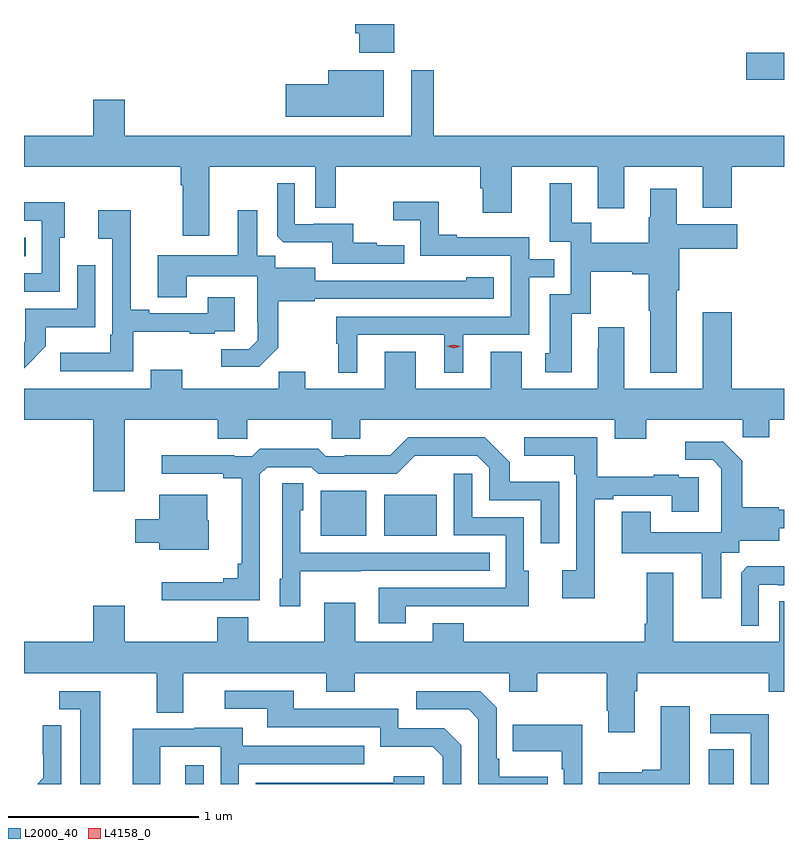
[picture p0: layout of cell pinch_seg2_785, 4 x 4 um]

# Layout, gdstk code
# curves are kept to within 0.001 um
import gdstk
lib = gdstk.Library(unit=1e-6, precision=1e-09)
def R(c, l, rs):  # rectangles x0, y0, x1, y1
    for r in rs: c.add(gdstk.rectangle(r[:2], r[2:], *l))
def P(c, l, *ps):  # polygons
    for p in ps: c.add(gdstk.Polygon(p, *l))
L2000_40 = (2000, 40)
L4158_0 = (4158, 0)

pinch_seg2_785 = lib.new_cell('pinch_seg2_785')
R(pinch_seg2_785, L2000_40, [(633.023,600.432,633.12,600.532), (635.78,600.432,635.911,600.614), (633.737,601.739,633.976,601.975), (634.07,601.739,634.348,601.954), (632.175,603.21,632.183,603.306), (635.976,604.138,636.175,604.28)])
P(pinch_seg2_785, L2000_40, [(634.123,604.432),(633.919,604.432),(633.919,604.384),(633.939,604.384),(633.939,604.28),(634.123,604.28)],
  [(634.069,604.189),(633.776,604.189),(633.776,604.115),(633.552,604.115),(633.552,603.944),(634.069,603.944)],
  [(632.704,604.033),(632.54,604.033),(632.54,603.844),(632.175,603.844),(632.175,603.68),(632.999,603.68),(632.999,603.584),(633.011,603.584),(633.011,603.318),(633.151,603.318),(633.151,603.68),(633.708,603.68),(633.708,603.466),(633.817,603.466),(633.817,603.68),(634.577,603.68),(634.577,603.567),(634.589,603.567),(634.589,603.438),(634.741,603.438),(634.741,603.68),(635.195,603.68),(635.195,603.462),(635.335,603.462),(635.335,603.68),(635.747,603.68),(635.747,603.464),(635.9,603.464),(635.9,603.68),(636.175,603.68),(636.175,603.844),(634.331,603.844),(634.331,604.189),(634.214,604.189),(634.214,603.844),(632.704,603.844)],
  [(635.611,603.032),(635.624,603.032),(635.624,603.25),(635.929,603.25),(635.929,603.379),(635.611,603.379),(635.611,603.565),(635.471,603.565),(635.471,603.414),(635.464,603.414),(635.464,603.28),(635.161,603.28),(635.161,603.386),(635.059,603.386),(635.059,603.595),(634.943,603.595),(634.943,603.285),(635.052,603.285),(635.052,603.009),(634.943,603.009),(634.943,602.7),(634.919,602.7),(634.919,602.598),(635.059,602.598),(635.059,602.906),(635.157,602.906),(635.157,603.128),(635.375,603.128),(635.375,603.116),(635.464,603.116),(635.464,602.923),(635.471,602.923),(635.471,602.597),(635.611,602.597)],
  [(634.175,603.268),(634.031,603.268),(634.031,603.28),(633.908,603.28),(633.908,603.381),(633.7,603.381),(633.7,603.378),(633.6,603.378),(633.6,603.595),(633.507,603.595),(633.507,603.315),(633.539,603.284),(633.798,603.284),(633.798,603.171),(634.175,603.171)],
  [(633.928,602.796),(634.388,602.796),(634.388,602.597),(634.486,602.597),(634.486,602.796),(634.833,602.796),(634.833,603.099),(634.967,603.099),(634.967,603.195),(634.833,603.195),(634.833,603.309),(634.453,603.309),(634.453,603.322),(634.359,603.322),(634.359,603.497),(634.119,603.497),(634.119,603.398),(634.26,603.398),(634.26,603.213),(634.737,603.213),(634.737,602.892),(633.819,602.892),(633.819,602.748),(633.83,602.748),(633.83,602.597),(633.928,602.597)],
  [(632.364,603.306),(632.389,603.306),(632.389,603.494),(632.175,603.494),(632.175,603.396),(632.268,603.396),(632.268,603.12),(632.175,603.12),(632.175,603.024),(632.364,603.024)],
  [(633.513,602.727),(633.513,602.973),(633.705,602.973),(633.705,602.985),(634.648,602.985),(634.648,603.1),(634.503,603.1),(634.503,603.082),(633.709,603.081),(633.709,603.148),(633.498,603.148),(633.498,603.212),(633.403,603.212),(633.403,603.451),(633.299,603.451),(633.299,603.214),(632.879,603.214),(632.879,602.995),(633.031,602.995),(633.031,603.104),(633.402,603.104),(633.402,602.863),(633.404,602.863),(633.404,602.768),(633.357,602.721),(633.213,602.721),(633.213,602.627),(633.413,602.627)],
  [(632.749,602.813),(633.047,602.813),(633.047,602.802),(633.179,602.802),(633.179,602.814),(633.283,602.814),(633.283,602.995),(633.143,602.995),(633.143,602.91),(632.833,602.91),(632.833,602.929),(632.737,602.929),(632.737,603.451),(632.565,603.451),(632.565,603.302),(632.64,603.302),(632.64,602.797),(632.628,602.797),(632.628,602.701),(632.367,602.701),(632.367,602.604),(632.749,602.604)],
  [(632.289,602.735),(632.289,602.837),(632.55,602.837),(632.55,603.163),(632.454,603.163),(632.454,602.934),(632.181,602.934),(632.181,602.763),(632.175,602.757),(632.175,602.621)],
  [(632.704,602.348),(633.196,602.348),(633.196,602.25),(633.351,602.25),(633.351,602.348),(633.796,602.348),(633.796,602.25),(633.946,602.25),(633.946,602.348),(635.285,602.348),(635.285,602.249),(635.449,602.249),(635.449,602.348),(635.959,602.348),(635.959,602.258),(636.097,602.258),(636.097,602.348),(636.175,602.348),(636.175,602.512),(635.9,602.512),(635.9,602.914),(635.747,602.914),(635.747,602.512),(635.335,602.512),(635.335,602.836),(635.198,602.836),(635.198,602.723),(635.195,602.723),(635.195,602.512),(634.795,602.512),(634.795,602.707),(634.631,602.707),(634.631,602.512),(634.237,602.512),(634.237,602.707),(634.073,602.707),(634.073,602.512),(633.655,602.512),(633.655,602.603),(633.517,602.603),(633.517,602.512),(633.007,602.512),(633.007,602.611),(632.843,602.611),(632.843,602.512),(632.175,602.512),(632.175,602.348),(632.54,602.348),(632.54,601.974),(632.704,601.974)],
  [(635.179,601.932),(635.275,601.932),(635.275,601.95),(635.585,601.95),(635.585,601.866),(635.725,601.866),(635.725,602.046),(635.621,602.046),(635.621,602.059),(635.489,602.059),(635.489,602.048),(635.191,602.048),(635.191,602.256),(634.809,602.256),(634.809,602.159),(635.07,602.159),(635.07,602.063),(635.082,602.063),(635.082,601.558),(635.007,601.558),(635.007,601.41),(635.179,601.41)],
  [(633.417,602.061),(633.456,602.1),(633.687,602.1),(633.723,602.064),(634.137,602.064),(634.232,602.159),(634.56,602.16),(634.623,602.097),(634.623,601.926),(634.896,601.926),(634.896,601.698),(634.992,601.698),(634.992,602.023),(634.731,602.023),(634.731,602.126),(634.6,602.256),(634.197,602.256),(634.103,602.162),(633.862,602.162),(633.862,602.157),(633.762,602.157),(633.723,602.197),(633.415,602.197),(633.375,602.157),(633.281,602.157),(633.281,602.162),(632.901,602.162),(632.901,602.064),(633.224,602.064),(633.224,602.042),(633.32,602.042),(633.32,601.591),(633.301,601.591),(633.301,601.514),(633.224,601.514),(633.224,601.495),(632.901,601.495),(632.901,601.398),(633.417,601.398)],
  [(635.845,601.648),(635.94,601.648),(635.94,601.712),(636.151,601.712),(636.151,601.779),(636.175,601.779),(636.175,601.875),(636.147,601.875),(636.147,601.888),(635.955,601.888),(635.955,602.133),(635.855,602.233),(635.655,602.233),(635.655,602.139),(635.799,602.139),(635.846,602.092),(635.846,601.997),(635.844,601.997),(635.844,601.756),(635.473,601.756),(635.473,601.865),(635.321,601.865),(635.321,601.646),(635.741,601.646),(635.741,601.41),(635.845,601.41)],
  [(634.183,601.368),(634.613,601.368),(634.613,601.367),(634.831,601.367),(634.831,601.554),(634.806,601.554),(634.806,601.836),(634.533,601.836),(634.533,602.065),(634.437,602.065),(634.437,601.74),(634.71,601.74),(634.71,601.464),(634.043,601.464),(634.043,601.278),(634.183,601.278)],
  [(633.63,601.553),(633.947,601.553),(633.947,601.554),(634.625,601.554),(634.625,601.65),(633.63,601.65),(633.63,601.872),(633.646,601.872),(633.646,602.015),(633.534,602.015),(633.534,601.512),(633.521,601.512),(633.521,601.368),(633.63,601.368)],
  [(633.148,601.821),(633.139,601.821),(633.139,601.954),(632.888,601.954),(632.888,601.825),(632.76,601.825),(632.76,601.703),(632.888,601.703),(632.888,601.664),(633.148,601.664)],
  [(636.042,601.482),(636.142,601.482),(636.142,601.479),(636.175,601.479),(636.175,601.577),(635.981,601.577),(635.949,601.545),(635.949,601.265),(636.042,601.265)],
  [(635.389,600.92),(635.402,600.92),(635.402,601.016),(636.095,601.016),(636.095,600.917),(636.175,600.917),(636.175,601.394),(636.15,601.394),(636.15,601.18),(635.593,601.18),(635.593,601.543),(635.453,601.543),(635.453,601.276),(635.441,601.276),(635.441,601.18),(634.489,601.18),(634.489,601.279),(634.325,601.279),(634.325,601.18),(633.919,601.18),(633.919,601.387),(633.755,601.387),(633.755,601.18),(633.355,601.18),(633.355,601.309),(633.191,601.309),(633.191,601.18),(632.704,601.18),(632.704,601.369),(632.54,601.369),(632.54,601.18),(632.175,601.18),(632.175,601.016),(632.873,601.016),(632.873,600.808),(633.013,600.808),(633.013,601.016),(633.767,601.016),(633.767,600.917),(633.915,600.917),(633.915,601.016),(634.728,601.016),(634.728,600.917),(634.875,600.917),(634.875,601.016),(635.242,601.016),(635.242,600.817),(635.249,600.817),(635.249,600.705),(635.389,600.705)],
  [(634.476,600.636),(634.386,600.726),(634.146,600.726),(634.146,600.828),(633.595,600.828),(633.595,600.924),(633.231,600.924),(633.231,600.828),(633.455,600.828),(633.455,600.732),(634.05,600.732),(634.05,600.629),(634.327,600.629),(634.38,600.576),(634.38,600.432),(634.476,600.432)],
  [(634.931,600.469),(634.675,600.469),(634.675,600.565),(634.662,600.565),(634.662,600.834),(634.575,600.921),(634.239,600.921),(634.239,600.825),(634.515,600.825),(634.566,600.774),(634.566,600.432),(634.931,600.432)],
  [(632.575,600.921),(632.361,600.921),(632.361,600.825),(632.471,600.825),(632.471,600.432),(632.575,600.432)],
  [(635.68,600.841),(635.525,600.841),(635.525,600.506),(635.429,600.506),(635.429,600.493),(635.199,600.493),(635.199,600.432),(635.68,600.432)],
  [(636.096,600.798),(635.787,600.798),(635.787,600.699),(636,600.699),(636,600.432),(636.096,600.432)],
  [(635.112,600.745),(634.747,600.745),(634.747,600.605),(635.004,600.605),(635.004,600.509),(635.016,600.509),(635.016,600.432),(635.112,600.432)],
  [(632.37,600.74),(632.274,600.74),(632.274,600.586),(632.276,600.586),(632.276,600.464),(632.244,600.432),(632.37,600.432)],
  [(632.892,600.627),(633.21,600.627),(633.21,600.432),(633.306,600.432),(633.306,600.537),(633.965,600.537),(633.965,600.633),(633.325,600.633),(633.325,600.727),(633.071,600.727),(633.071,600.723),(632.747,600.723),(632.747,600.432),(632.892,600.432)],
  [(634.282,600.472),(634.121,600.472),(634.121,600.438),(633.396,600.438),(633.396,600.432),(634.282,600.432)])
P(pinch_seg2_785, L4158_0, [(634.437,602.725),(634.401,602.735),(634.401,602.735),(634.401,602.735),(634.437,602.745),(634.473,602.735),(634.473,602.735),(634.473,602.735)])

lib.write_gds('pinch_seg2_785.gds')
